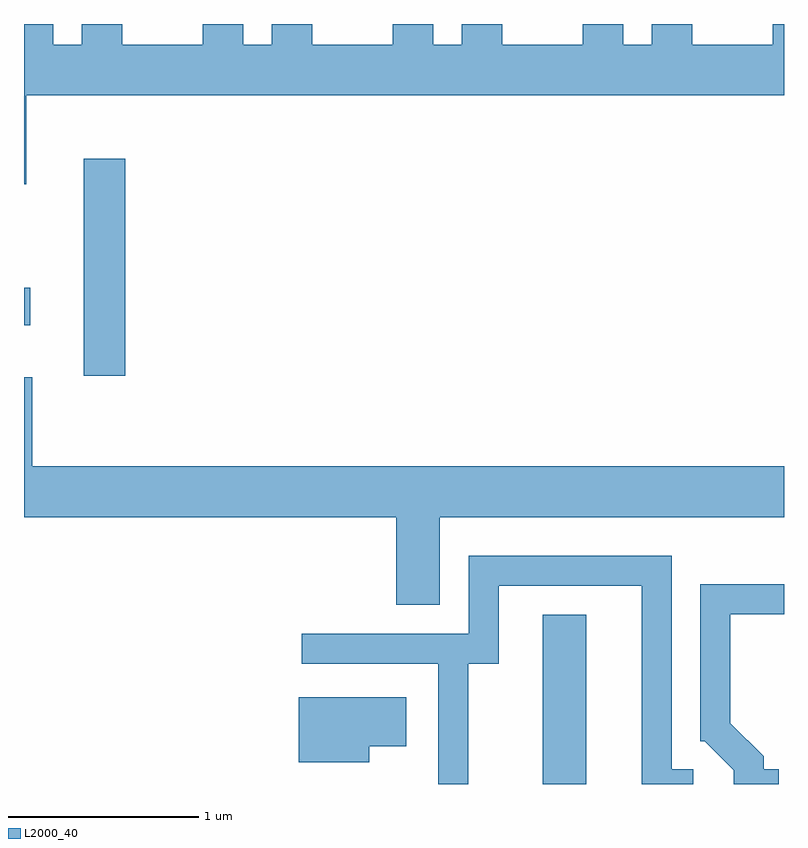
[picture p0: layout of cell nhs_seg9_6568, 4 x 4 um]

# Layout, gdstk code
import gdstk
lib = gdstk.Library(unit=1e-6, precision=1e-09)
def R(c, l, rs):  # rectangles x0, y0, x1, y1
    for r in rs: c.add(gdstk.rectangle(r[:2], r[2:], *l))
def P(c, l, *ps):  # polygons
    for p in ps: c.add(gdstk.Polygon(p, *l))
L2000_40 = (2000, 40)

nhs_seg9_6568 = lib.new_cell('nhs_seg9_6568')
R(nhs_seg9_6568, L2000_40, [(382.341,1970.432,382.569,1971.324), (379.926,1972.581,380.144,1973.724), (379.611,1972.846,379.644,1973.044)])
P(nhs_seg9_6568, L2000_40, [(379.624,1974.056),(383.611,1974.056),(383.611,1974.432),(383.551,1974.432),(383.551,1974.324),(383.129,1974.324),(383.129,1974.432),(382.916,1974.432),(382.916,1974.324),(382.764,1974.324),(382.764,1974.432),(382.551,1974.432),(382.551,1974.324),(382.129,1974.324),(382.129,1974.432),(381.916,1974.432),(381.916,1974.324),(381.764,1974.324),(381.764,1974.432),(381.551,1974.432),(381.551,1974.324),(381.129,1974.324),(381.129,1974.432),(380.916,1974.432),(380.916,1974.324),(380.764,1974.324),(380.764,1974.432),(380.551,1974.432),(380.551,1974.324),(380.129,1974.324),(380.129,1974.432),(379.916,1974.432),(379.916,1974.324),(379.764,1974.324),(379.764,1974.432),(379.611,1974.432),(379.611,1973.588),(379.624,1973.588)],
  [(381.799,1971.836),(383.611,1971.836),(383.611,1972.104),(379.654,1972.104),(379.654,1972.574),(379.611,1972.574),(379.611,1971.836),(381.571,1971.836),(381.571,1971.376),(381.799,1971.376)],
  [(381.949,1971.066),(382.109,1971.066),(382.109,1971.476),(382.861,1971.476),(382.861,1970.432),(383.133,1970.432),(383.133,1970.509),(383.019,1970.509),(383.019,1971.634),(381.951,1971.634),(381.951,1971.224),(381.073,1971.224),(381.073,1971.066),(381.791,1971.066),(381.791,1970.432),(381.949,1970.432)],
  [(383.583,1970.509),(383.504,1970.509),(383.504,1970.577),(383.329,1970.752),(383.329,1971.326),(383.611,1971.326),(383.611,1971.484),(383.171,1971.484),(383.171,1970.656),(383.194,1970.656),(383.346,1970.504),(383.346,1970.432),(383.583,1970.432)],
  [(381.429,1970.631),(381.624,1970.631),(381.624,1970.889),(381.056,1970.889),(381.056,1970.546),(381.429,1970.546)])

lib.write_gds('nhs_seg9_6568.gds')
